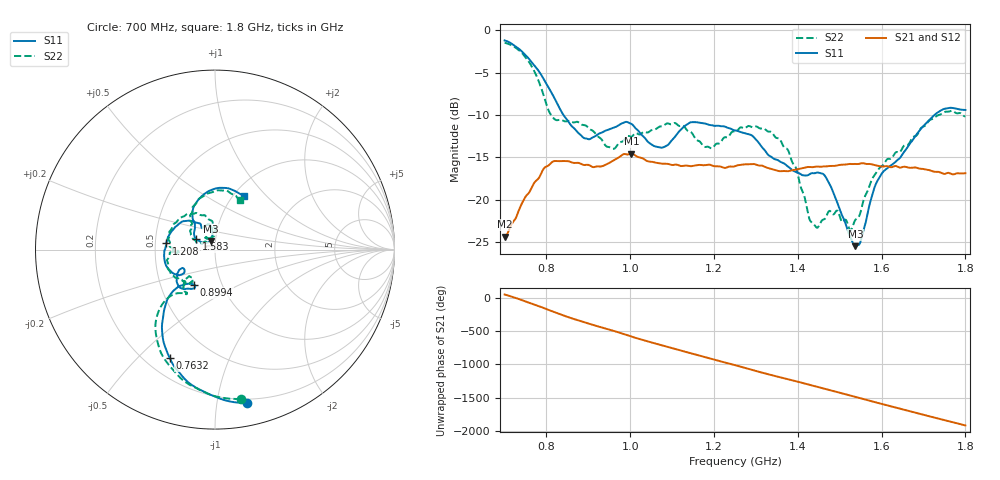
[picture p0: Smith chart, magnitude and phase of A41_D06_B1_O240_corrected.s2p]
! Created with skrf 1.9.0 (http://scikit-rf.org).
# Hz S RI R 50.0
!freq ReS11 ImS11 ReS21 ImS21 ReS12 ImS12 ReS22 ImS22
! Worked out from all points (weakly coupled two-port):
!   1601 points, 700 MHz to 1.8 GHz, reference 50 ohm
!   highest |S21| = -14.54 dB at 1.002 GHz (marker M1); lowest = -24.3 dB at 700.7 MHz (marker M2)
!   lowest |S11| = -25.5 dB at 1.537 GHz (marker M3), VSWR 1.11, Z = 47.5 + j4.54 ohm
!   |S11| at or under -10 dB: 840.6 MHz to 1.726 GHz (885.3 MHz wide, 69 % of centre)
!   |S22| runs from -23.6 to -1.5 dB; largest |S21 - S12| = 0.0035
!   S11 on the Smith chart (normalised r, x): 700 MHz: 0.17, -1.21; 763.2 MHz: 0.30, -0.62; 899.4 MHz: 0.74, -0.30; 1.208 GHz: 0.57, +0.04; 1.583 GHz: 0.81, +0.09; 1.8 GHz: 1.12, +0.75
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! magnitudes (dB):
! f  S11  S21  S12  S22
! 700 MHz  -1.2  -24.3  -24.1  -1.5
! 700.7 MHz  -1.2  -24.3  -24.0  -1.5
! 763.2 MHz  -3.7  -18.7  -18.7  -4.1
! 815.5 MHz  -7.7  -15.5  -15.6  -10.3
! 883.6 MHz  -12.4  -15.8  -15.7  -11.1
! 899.4 MHz  -12.8  -15.9  -15.9  -11.5
! 957.1 MHz  -11.5  -15.4  -15.4  -13.9
! 1.002 GHz  -11.0  -14.5  -14.6  -12.6
! 1.067 GHz  -13.8  -15.7  -15.6  -11.4
! 1.143 GHz  -10.9  -16.0  -16.0  -12.0
! 1.208 GHz  -11.2  -16.0  -16.1  -13.4
! 1.25 GHz  -11.8  -16.0  -16.0  -12.0
! 1.357 GHz  -15.5  -16.6  -16.6  -12.8
! 1.395 GHz  -16.7  -16.4  -16.4  -16.2
! 1.434 GHz  -16.9  -16.1  -16.1  -22.7
! 1.469 GHz  -17.5  -16.1  -16.0  -21.9
! 1.537 GHz  -25.5  -15.8  -15.8  -22.4
! 1.551 GHz  -24.7  -15.7  -15.7  -21.2
! 1.583 GHz  -18.5  -15.9  -15.9  -17.1
! 1.617 GHz  -16.1  -16.1  -16.0  -15.1
! 1.733 GHz  -9.7  -16.7  -16.7  -10.1
! 1.8 GHz  -9.4  -16.9  -16.9  -10.1
